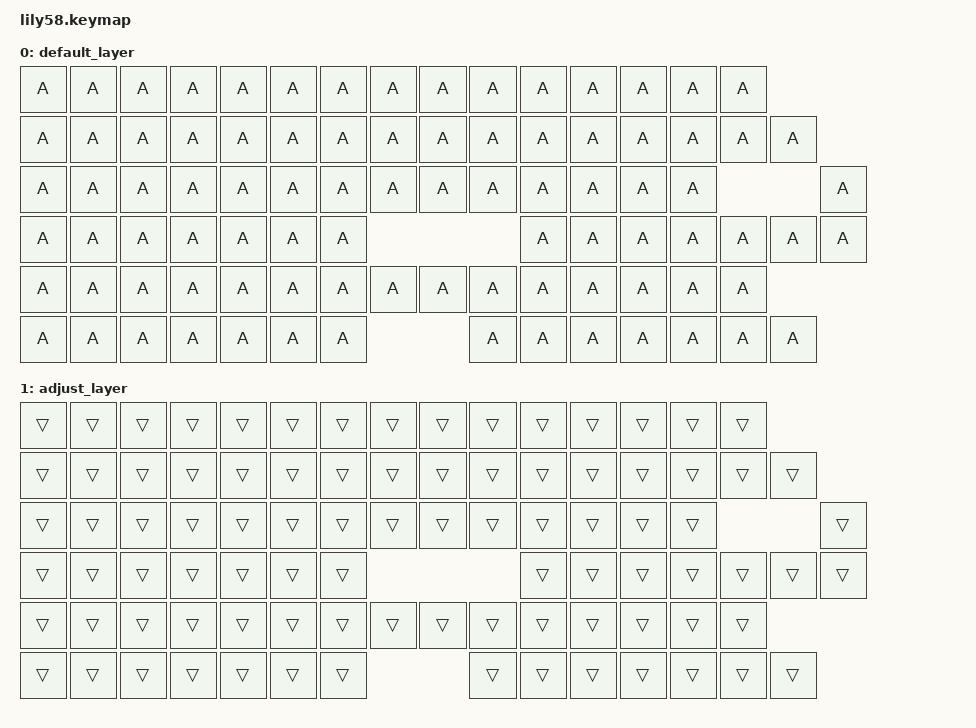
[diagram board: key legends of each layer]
#include <behaviors.dtsi>
#include <dt-bindings/zmk/keys.h>
#include <dt-bindings/zmk/bt.h>

/ {
    keymap {
        compatible = "zmk,keymap";

        default_layer {
            bindings = <
// 全てのキーを一時的に'A'に変更してテスト
&kp A &kp A &kp A &kp A &kp A &kp A                                 &kp A &kp A &kp A &kp A &kp A &kp A &kp A &kp A &kp A
&kp A &kp A &kp A &kp A &kp A &kp A                                 &kp A &kp A &kp A &kp A &kp A &kp A &kp A &kp A &kp A &kp A
&kp A &kp A &kp A &kp A &kp A &kp A                                 &kp A &kp A &kp A &kp A &kp A &kp A &kp A &kp A           &kp A
&kp A &kp A &kp A &kp A &kp A &kp A                                 &kp A &kp A &kp A &kp A &kp A &kp A &kp A                 &kp A
&kp A &kp A &kp A &kp A &kp A &kp A                                 &kp A &kp A &kp A &kp A &kp A &kp A &kp A &kp A &kp A
&kp A &kp A &kp A &kp A &kp A &kp A                                 &kp A &kp A &kp A &kp A &kp A           &kp A &kp A &kp A
            >;
        };

        adjust_layer {
            bindings = <
&trans &trans &trans &trans &trans &trans                           &trans &trans &trans &trans &trans &trans &trans &trans &trans
&trans &trans &trans &trans &trans &trans                           &trans &trans &trans &trans &trans &trans &trans &trans &trans &trans
&trans &trans &trans &trans &trans &trans                           &trans &trans &trans &trans &trans &trans &trans &trans        &trans
&trans &trans &trans &trans &trans &trans                           &trans &trans &trans &trans &trans &trans &trans               &trans
&trans &trans &trans &trans &trans &trans                           &trans &trans &trans &trans &trans &trans &trans &trans &trans
&trans &trans &trans &trans &trans &trans                           &trans &trans &trans &trans &trans        &trans &trans &trans
            >;
        };
    };
};
